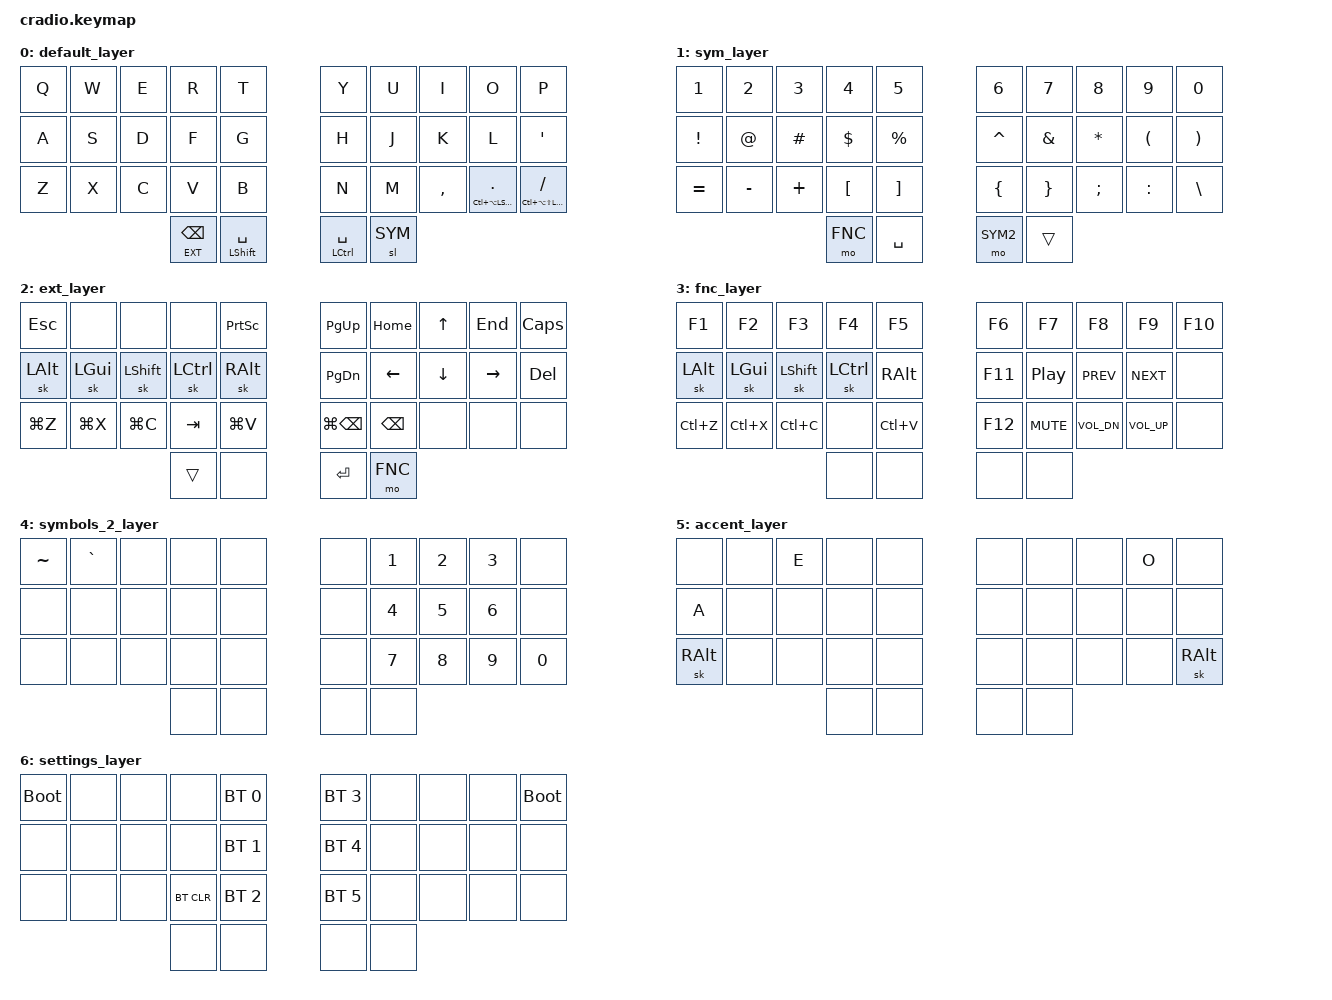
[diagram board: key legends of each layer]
// Copyright (c) 2022 The ZMK Contributors
// SPDX-License-Identifier: MIT

#include <behaviors.dtsi>
#include <dt-bindings/zmk/keys.h>
#include <dt-bindings/zmk/bt.h>

// Layer definitions
    #define BASE 0
    #define SYM 1
    #define EXT 2
    #define FNC 3
    #define SYM2 4
    #define ACCENT 5
	#define SETTINGS 6
// -----------------


&sk {
    ignore-modifiers;
};

/ {
    behaviors {
        ht: hold_tap {
            compatible = "zmk,behavior-hold-tap";
            #binding-cells = <2>;
            flavor = "tap-preferred";
            tapping-term-ms = <220>;
            quick-tap-ms = <150>;
            bindings = <&kp>, <&kp>;
        };
    };
    combos {
        compatible = "zmk,combos";
		// both right thumb keys
        combo_accent {
            timeout-ms = <300>;
            key-positions = <32 33>;
            bindings = <&mo ACCENT>;
        };
		// internal-left & external-right thumb keys
		combo_sym2 {
			timeout-ms = <200>;
			key-positions = <31 32>;
			bindings = <&mo SYM2>;
		};
		// both left thumb keys
		combo_settings {
			timeout-ms = <300>;
			key-positions = <30 31>;
			bindings = <&mo SETTINGS>;
		};
    };

    keymap {
        compatible = "zmk,keymap";
		// Base alpha layer
        default_layer {
            bindings = <
            &kp Q      &kp W      &kp E    &kp R        &kp T                  &kp Y      &kp U      &kp I      &kp O                    &kp P
            &kp A      &kp S      &kp D    &kp F        &kp G                  &kp H      &kp J      &kp K      &kp L                    &kp SQT
            &kp Z      &kp X      &kp C    &kp V        &kp B                  &kp N      &kp M      &kp COMMA  &mt LC(LA(LSHIFT)) DOT   &mt LC(LA(LS(LGUI))) FSLH
                                           &lt EXT BSPC &mt LSHFT SPACE        &mt LCTRL SPACE  &sl SYM
            >;
        };

        sym_layer {
            bindings = <
            &kp N1    &kp N2      &kp N3     &kp N4     &kp N5                 &kp N6     &kp N7     &kp N8     &kp N9     &kp N0
            &kp EXCL  &kp AT      &kp HASH   &kp DLLR   &kp PRCNT              &kp CARET  &kp AMPS   &kp ASTRK  &kp LPAR   &kp RPAR
            &kp EQUAL &kp MINUS   &kp PLUS   &kp LBKT   &kp RBKT               &kp LBRC   &kp RBRC   &kp SEMI   &kp COLON  &kp BSLH
                                             &mo FNC    &kp SPACE              &mo SYM2   &trans
            >;
        };

        ext_layer {
            bindings = <
            &kp ESC    &none     &none       &none      &kp PRINTSCREEN        &kp PG_UP     &kp HOME  &kp UP    &kp END    &kp CAPS
            &sk LALT   &sk LGUI  &sk LSHFT   &sk LCTRL  &sk RALT               &kp PG_DN     &kp LEFT  &kp DOWN  &kp RIGHT  &kp DEL
            &kp LG(Z)  &kp LG(X) &kp LG(C)   &kp TAB    &kp LG(V)              &kp LG(BSPC)  &kp BSPC  &none     &none      &none
                                             &trans     &none                  &kp ENTER     &mo FNC
            >;
        };

        fnc_layer {
            bindings = <
            &kp F1    &kp F2    &kp F3      &kp F4    &kp F5                   &kp F6      &kp F7            &kp F8        &kp F9        &kp F10
            &sk LALT  &sk LGUI  &sk LSHFT   &sk LCTRL &kp RALT                 &kp F11     &kp C_PLAY_PAUSE  &kp C_PREV    &kp C_NEXT    &none
            &kp LC(Z) &kp LC(X) &kp LC(C)   &none     &kp LC(V)                &kp F12     &kp C_MUTE        &kp C_VOL_DN  &kp C_VOL_UP  &none
                                            &none     &none                    &none       &none
            >;
        };
		symbols_2_layer {
            bindings = <
            &kp TILDE  &kp GRAVE  &none  &none  &none                          &none  &kp N1  &kp N2  &kp N3  &none
            &none      &none      &none  &none  &none                          &none  &kp N4  &kp N5  &kp N6  &none
            &none      &none      &none  &none  &none                          &none  &kp N7  &kp N8  &kp N9  &kp N0
                                         &none  &none                          &none  &none
            >;
        };
		accent_layer {
            bindings = <
            &none       &none    &kp E  &none    &none                         &none  &none  &none  &kp O  &none
            &kp A       &none    &none  &none    &none                         &none  &none  &none  &none  &none
            &sk RALT    &none    &none  &none    &none                         &none  &none  &none  &none  &sk RALT
                                      &none      &none                         &none  &none
            >;
        };
		settings_layer {
            bindings = <
            &bootloader  &none  &none   &none       &bt BT_SEL 0               &bt BT_SEL 3  &none  &none  &none  &bootloader
            &none        &none  &none   &none       &bt BT_SEL 1               &bt BT_SEL 4  &none  &none  &none  &none
            &none        &none  &none   &bt BT_CLR  &bt BT_SEL 2               &bt BT_SEL 5  &none  &none  &none  &none
                                        &none       &none                      &none         &none
            >;
        };
    };
};
